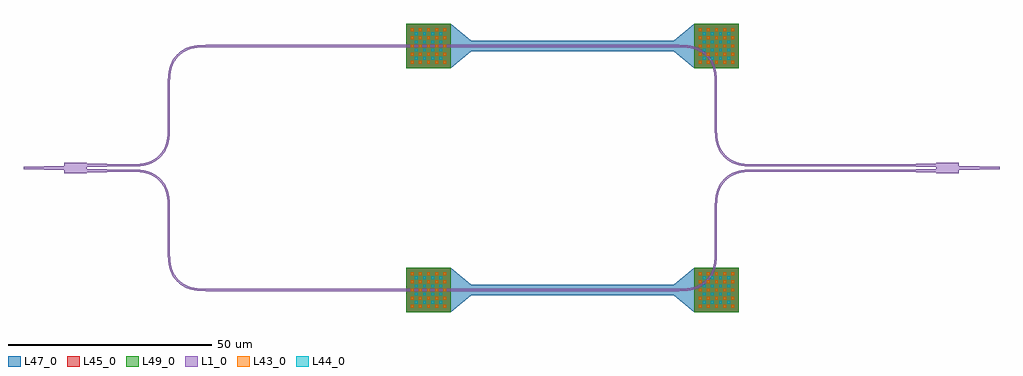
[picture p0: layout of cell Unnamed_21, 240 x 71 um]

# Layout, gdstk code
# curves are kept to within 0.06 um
from math import pi, radians
import gdstk
lib = gdstk.Library(unit=1e-6, precision=1e-09)
def R(c, l, rs):  # rectangles x0, y0, x1, y1
    for r in rs: c.add(gdstk.rectangle(r[:2], r[2:], *l))
def A(c, l, x, y, w, h, nx, ny, dx, dy):  # array of equal rectangles
    R(c, l, [(x+i*dx, y+j*dy, x+i*dx+w, y+j*dy+h) for i in range(nx) for j in range(ny)])
def P(c, l, *ps):  # polygons
    for p in ps: c.add(gdstk.Polygon(p, *l))
L1_0 = (1, 0)
L43_0 = (43, 0)
L44_0 = (44, 0)
L45_0 = (45, 0)
L47_0 = (47, 0)
L49_0 = (49, 0)

mmi1x2_gdsfactorypcompo_ = lib.new_cell('mmi1x2_gdsfactorypcompo_1f097353')
P(mmi1x2_gdsfactorypcompo_, L1_0, [(0,-1.25),(0,-0.5),(-10,-0.25),(-10,0.25),(0,0.5),(0,1.25),(5.5,1.25),(5.5,1.125),(15.5,0.875),(15.5,0.375),(5.5,0.125),(5.5,-0.125),(15.5,-0.375),(15.5,-0.875),(5.5,-1.125),(5.5,-1.25)])

straight_heater_metal_u_ = lib.new_cell('straight_heater_metal_u_c4f470c9')
R(straight_heater_metal_u_, L1_0, [(0,-0.25,50,0.25)])
A(straight_heater_metal_u_, L43_0, -14.75, -4.35, 0.7, 0.7, 5, 5, 2, 2)
A(straight_heater_metal_u_, L43_0, 56.05, -4.35, 0.7, 0.7, 5, 5, 2, 2)
A(straight_heater_metal_u_, L44_0, -13.75, -3.35, 0.7, 0.7, 4, 4, 2, 2)
A(straight_heater_metal_u_, L44_0, 57.05, -3.35, 0.7, 0.7, 4, 4, 2, 2)
R(straight_heater_metal_u_, L45_0, [(-15.9,-5.5,-4.9,5.5), (54.9,-5.5,65.9,5.5)])
P(straight_heater_metal_u_, L47_0, [(-15.9,-5.5),(-15.9,5.5),(-4.9,5.5),(0.1,1.25),(49.9,1.25),(54.9,5.5),(65.9,5.5),(65.9,-5.5),(54.9,-5.5),(49.9,-1.25),(0.1,-1.25),(-4.9,-5.5)])
R(straight_heater_metal_u_, L49_0, [(-15.9,-5.5,-4.9,5.5), (54.9,-5.5,65.9,5.5)])

bend_euler_gdsfactorypc_ = lib.new_cell('bend_euler_gdsfactorypc_335c8724')
P(bend_euler_gdsfactorypc_, L1_0, [(0,-0.25),(0,0.25),(2.881,0.353),(3.952,0.52),(4.99,0.806),(6.431,1.505),(7.575,2.425),(8.495,3.569),(9.194,5.01),(9.48,6.048),(9.647,7.119),(9.75,10),(10.25,10),(10.158,7.205),(9.797,5.254),(9.457,4.312),(9.066,3.545),(8.5,2.715),(7.928,2.072),(7.285,1.5),(6.455,0.934),(5.688,0.543),(4.746,0.203),(2.795,-0.158)])

straight_gdsfactorypcom_ = lib.new_cell('straight_gdsfactorypcom_10786d69')
R(straight_gdsfactorypcom_, L1_0, [(0,-0.25,0.25,0.25)])

c_straight_gdsfactorypcom_ = lib.new_cell('straight_gdsfactorypcom_3c66e8f0')
R(c_straight_gdsfactorypcom_, L1_0, [(0,-0.25,9.375,0.25)])

c_straight_gdsfactorypcom__ = lib.new_cell('straight_gdsfactorypcom_e7bc9ba0')
R(c_straight_gdsfactorypcom__, L1_0, [(0,-0.25,64.25,0.25)])

c_straight_gdsfactorypcom___ = lib.new_cell('straight_gdsfactorypcom_989e9dce')
R(c_straight_gdsfactorypcom___, L1_0, [(0,-0.25,34.25,0.25)])

unnamed_21 = lib.new_cell('Unnamed_21')
unnamed_21.add(gdstk.Reference(mmi1x2_gdsfactorypcompo_, (0,0)))
unnamed_21.add(gdstk.Reference(mmi1x2_gdsfactorypcompo_, (220,0), rotation=pi, x_reflection=True))
unnamed_21.add(gdstk.Reference(straight_heater_metal_u_, (100,30)))
unnamed_21.add(gdstk.Reference(straight_heater_metal_u_, (100,-30)))
unnamed_21.add(gdstk.Reference(bend_euler_gdsfactorypc_, (25.75,-10.625), rotation=pi/2))
unnamed_21.add(gdstk.Reference(straight_gdsfactorypcom_, (15.5,-0.625)))
unnamed_21.add(gdstk.Reference(bend_euler_gdsfactorypc_, (35.75,-30), rotation=pi, x_reflection=True))
unnamed_21.add(gdstk.Reference(c_straight_gdsfactorypcom_, (25.75,-10.625), rotation=3*pi/2))
unnamed_21.add(gdstk.Reference(c_straight_gdsfactorypcom__, (35.75,-30)))
unnamed_21.add(gdstk.Reference(bend_euler_gdsfactorypc_, (25.75,10.625), rotation=3*pi/2, x_reflection=True))
unnamed_21.add(gdstk.Reference(straight_gdsfactorypcom_, (15.5,0.625)))
unnamed_21.add(gdstk.Reference(bend_euler_gdsfactorypc_, (35.75,30), rotation=pi))
unnamed_21.add(gdstk.Reference(c_straight_gdsfactorypcom_, (25.75,10.625), rotation=pi/2))
unnamed_21.add(gdstk.Reference(c_straight_gdsfactorypcom__, (35.75,30)))
unnamed_21.add(gdstk.Reference(bend_euler_gdsfactorypc_, (160.25,-20), rotation=3*pi/2, x_reflection=True))
unnamed_21.add(gdstk.Reference(straight_gdsfactorypcom_, (150,-30)))
unnamed_21.add(gdstk.Reference(bend_euler_gdsfactorypc_, (170.25,-0.625), rotation=pi))
unnamed_21.add(gdstk.Reference(c_straight_gdsfactorypcom_, (160.25,-20), rotation=pi/2))
unnamed_21.add(gdstk.Reference(c_straight_gdsfactorypcom___, (170.25,-0.625)))
unnamed_21.add(gdstk.Reference(bend_euler_gdsfactorypc_, (160.25,20), rotation=pi/2))
unnamed_21.add(gdstk.Reference(straight_gdsfactorypcom_, (150,30)))
unnamed_21.add(gdstk.Reference(bend_euler_gdsfactorypc_, (170.25,0.625), rotation=pi, x_reflection=True))
unnamed_21.add(gdstk.Reference(c_straight_gdsfactorypcom_, (160.25,20), rotation=3*pi/2))
unnamed_21.add(gdstk.Reference(c_straight_gdsfactorypcom___, (170.25,0.625)))

lib.write_gds('Unnamed_21.gds')
